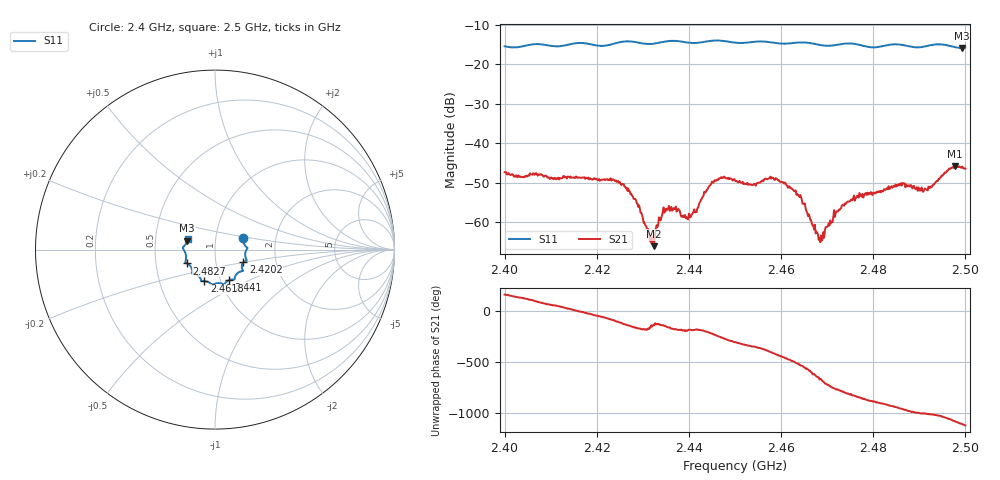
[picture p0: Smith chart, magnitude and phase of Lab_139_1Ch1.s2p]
# Hz S RI R 50
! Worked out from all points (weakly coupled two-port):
!   601 points, 2.4 GHz to 2.5 GHz, reference 50 ohm
!   highest |S21| = -45.75 dB at 2.4977 GHz (marker M1); lowest = -66.1 dB at 2.4323 GHz (marker M2)
!   lowest |S11| = -15.8 dB at 2.4992 GHz (marker M3), VSWR 1.39, Z = 36.5 + j3.67 ohm
!   |S11| at or under -10 dB: start of sweep to end of sweep
!   S12 and S22 are empty: the file has one direction only
!   S11 on the Smith chart (normalised r, x): 2.4 GHz: 1.36, +0.18; 2.4202 GHz: 1.36, -0.20; 2.441 GHz: 1.10, -0.39; 2.4618 GHz: 0.84, -0.30; 2.4827 GHz: 0.72, -0.12; 2.5 GHz: 0.73, +0.09
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2.4e9  0.158 0.0627  -0.00398 0.00166  0 0  0 0
2.416667e9  0.1772 -0.0605  0.00356 -0.000788  0 0  0 0
2.420167e9  0.1582 -0.0712  0.00223 -0.00257  0 0  0 0
2.426333e9  0.1566 -0.1181  -0.002 -0.00179  0 0  0 0
2.432333e9  0.116 -0.1419  -0.000366 -0.000335  0 0  0 0
2.433333e9  0.1114 -0.151  -0.000595 -0.000733  0 0  0 0
2.435333e9  0.1093 -0.1645  -0.00137 -0.000421  0 0  0 0
2.441e9  0.0788 -0.1697  -0.00134 0.000238  0 0  0 0
2.445333e9  0.0516 -0.194  -0.00199 0.00247  0 0  0 0
2.45e9  0.0283 -0.1872  0.00209 0.00265  0 0  0 0
2.457833e9  -0.0241 -0.1894  0.00239 -0.00263  0 0  0 0
2.461833e9  -0.0595 -0.1756  -0.00144 -0.00246  0 0  0 0
2.464667e9  -0.0755 -0.1746  -0.00171 7.9e-05  0 0  0 0
2.466667e9  -0.0783 -0.1682  -0.000377 0.000887  0 0  0 0
2.468833e9  -0.0863 -0.1524  0.000443 0.000381  0 0  0 0
2.473667e9  -0.1239 -0.135  0.000315 -0.00158  0 0  0 0
2.482667e9  -0.1559 -0.0772  -0.00246 0.000761  0 0  0 0
2.483333e9  -0.1601 -0.0753  -0.00255 0.00128  0 0  0 0
2.491333e9  -0.1696 -0.00788  0.000775 0.00251  0 0  0 0
2.497667e9  -0.1632 0.0299  0.00516 -0.000134  0 0  0 0
2.499167e9  -0.1546 0.049  0.00432 -0.00232  0 0  0 0
2.5e9  -0.1521 0.0611  0.00341 -0.00334  0 0  0 0
